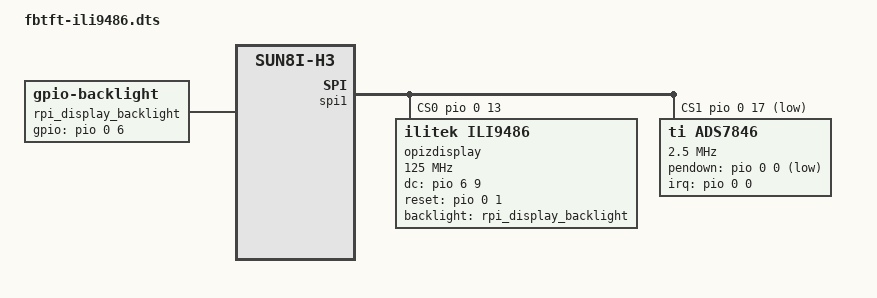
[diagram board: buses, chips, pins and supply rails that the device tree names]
/dts-v1/;
/plugin/;

/ {
	compatible = "allwinner,sun8i-h3";
	
	fragment@0 {
		target = <&pio>;
		__overlay__ {
			spi1_cs0: spi1_cs0 {
				pins = "PA13";
				function = "gpio_out";
				output-high;
			};
			
			spi1_cs1: spi1_cs1 {
				pins = "PA17";
				function = "gpio_out";
				output-high;
			};
			
			opiz_display_pins: opiz_display_pins {
				pins = "PG9", "PA1";
				function = "gpio_out";
			};
			
			ads7846_pins: ads7846_pins {
				pins = "PA0";
				function = "irq";
			};
		};
	};

	fragment@1 {
		target-path = "/";
		__overlay__ {
			rpi_display_backlight: backlight {
				compatible = "gpio-backlight";
				gpios = <&pio 0 6 0>; 
				default-on;
				status = "okay";
			};
		};
	};
	
	fragment@2 {
		target = <&spi1>;
		__overlay__ {
			#address-cells = <1>;
			#size-cells = <0>;
			status = "okay";
			
			pinctrl-names = "default", "default";
			cs-gpios = <&pio 0 13 0>, <&pio 0 17 1>;
			
			opizdisplay: opiz-display@0 {
				reg = <0>; /* CS0 */
				compatible = "ilitek,ili9486";
				
				pinctrl-names = "default";
				pinctrl-0 = <&opiz_display_pins>;
				pinctrl-1 = <&spi1_cs0>;
				spi-max-frequency = <125000000>;
				rotate = <90>;
				bgr = <0>;
				fps = <33>;
				buswidth = <8>;
				dc-gpios = <&pio 6 9 0>;      /* PG9 */
				reset-gpios = <&pio 0 1 0>;   /* PA1 */
				debug = <4>;
				status = "okay";
				
				backlight = <&rpi_display_backlight>;
			};
			
			ads7846: ads7846@1 {
				reg = <1>; /* CS1 */
				compatible = "ti,ads7846";
				pinctrl-names = "default";

				pinctrl-3 = <&ads7846_pins>;
				spi-max-frequency = <2500000>;
				interrupt-parent = <&pio>;
				interrupts = <0 0 2>;        /* IRQ_TYPE_EDGE_FALLING */
				pendown-gpio = <&pio 0 0 1>; /* PA0 */
				
				ti,x-min = /bits/ 16 <0>;
				ti,y-min = /bits/ 16 <0>;
				ti,x-max = /bits/ 16 <0x0FFF>;
				ti,y-max = /bits/ 16 <0x0FFF>;
				ti,pressure-min = /bits/ 16 <0>;
				ti,pressure-max = /bits/ 16 <0xFFFF>;
				ti,x-plate-ohms = /bits/ 16 <400>;
				
				ti,keep-vref-on;
				ti,settle-delay-usec = /bits/ 16 <150>;
				ti,penirq-recheck-delay-usecs = /bits/ 16 <50>;
				status = "okay";
			};
		};
	};
};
